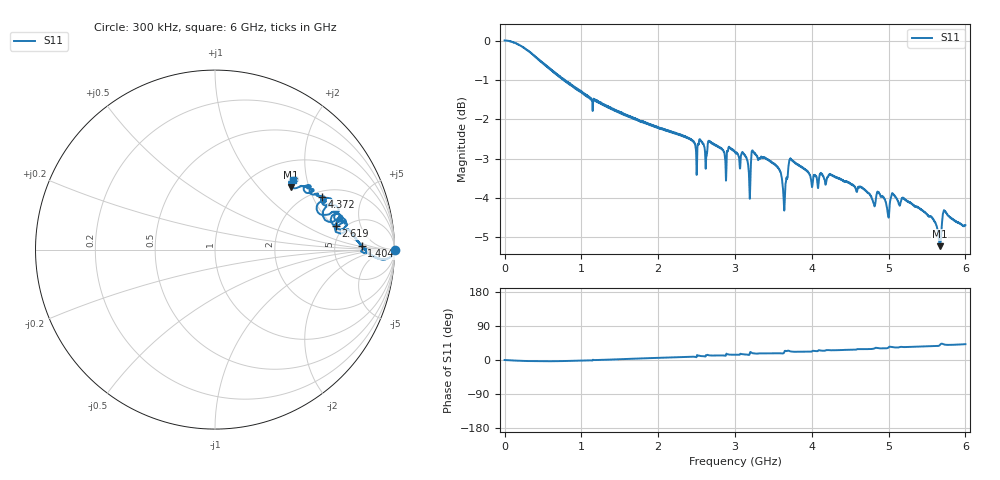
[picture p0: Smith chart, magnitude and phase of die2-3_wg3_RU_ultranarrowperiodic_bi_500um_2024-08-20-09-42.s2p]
!Keysight Technologies,P9374A,MY57304198,A.17.20.09
!Date: Tuesday, August 20, 2024 09:42:35
!Correction: S11(C  1-Port  )
!S21(C  1-Port  )
!S12(Off)
!S22(Off)
!S2P File: Measurements: S11, S21, S12, S22:
# Hz S  dB  R 50
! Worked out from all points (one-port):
!   6000 points, 300 kHz to 6 GHz, reference 50 ohm
!   lowest |S11| = -5.2 dB at 5.668 GHz (marker M1), VSWR 3.42, Z = 76.6 + j76.6 ohm
!   |S11| at or under -10 dB: nowhere
!   S11 on the Smith chart (normalised r, x): 300 kHz: open; 1.404 GHz: 9.85, +1.12; 2.619 GHz: 4.29, +2.13; 4.372 GHz: 2.24, +2.37; 6 GHz: 1.41, +1.65
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300000  0.00 -0.0  -200.00 45.0  -200.00 45.0  -200.00 45.0
4.103478e8  -0.42 -3.1  -200.00 45.0  -200.00 45.0  -200.00 45.0
1.000417e9  -1.31 -1.6  -200.00 45.0  -200.00 45.0  -200.00 45.0
1.404464e9  -1.75 1.3  -200.00 45.0  -200.00 45.0  -200.00 45.0
2.000533e9  -2.22 5.9  -200.00 45.0  -200.00 45.0  -200.00 45.0
2.618605e9  -3.26 11.0  -200.00 45.0  -200.00 45.0  -200.00 45.0
3.00065e9  -2.83 13.8  -200.00 45.0  -200.00 45.0  -200.00 45.0
3.162669e9  -3.06 14.1  -200.00 45.0  -200.00 45.0  -200.00 45.0
3.224676e9  -2.79 18.2  -200.00 45.0  -200.00 45.0  -200.00 45.0
3.540713e9  -3.20 17.9  -200.00 45.0  -200.00 45.0  -200.00 45.0
3.612721e9  -3.53 17.2  -200.00 45.0  -200.00 45.0  -200.00 45.0
3.655726e9  -3.69 24.1  -200.00 45.0  -200.00 45.0  -200.00 45.0
3.68373e9  -3.48 24.2  -200.00 45.0  -200.00 45.0  -200.00 45.0
3.742737e9  -3.05 22.1  -200.00 45.0  -200.00 45.0  -200.00 45.0
4.000767e9  -3.70 22.6  -200.00 45.0  -200.00 45.0  -200.00 45.0
4.37181e9  -3.52 26.2  -200.00 45.0  -200.00 45.0  -200.00 45.0
5.000883e9  -4.50 33.5  -200.00 45.0  -200.00 45.0  -200.00 45.0
5.415932e9  -4.29 35.3  -200.00 45.0  -200.00 45.0  -200.00 45.0
5.603954e9  -4.62 36.7  -200.00 45.0  -200.00 45.0  -200.00 45.0
5.667961e9  -5.23 39.7  -200.00 45.0  -200.00 45.0  -200.00 45.0
5.713967e9  -4.36 41.8  -200.00 45.0  -200.00 45.0  -200.00 45.0
6e9  -4.70 41.8  -200.00 45.0  -200.00 45.0  -200.00 45.0
